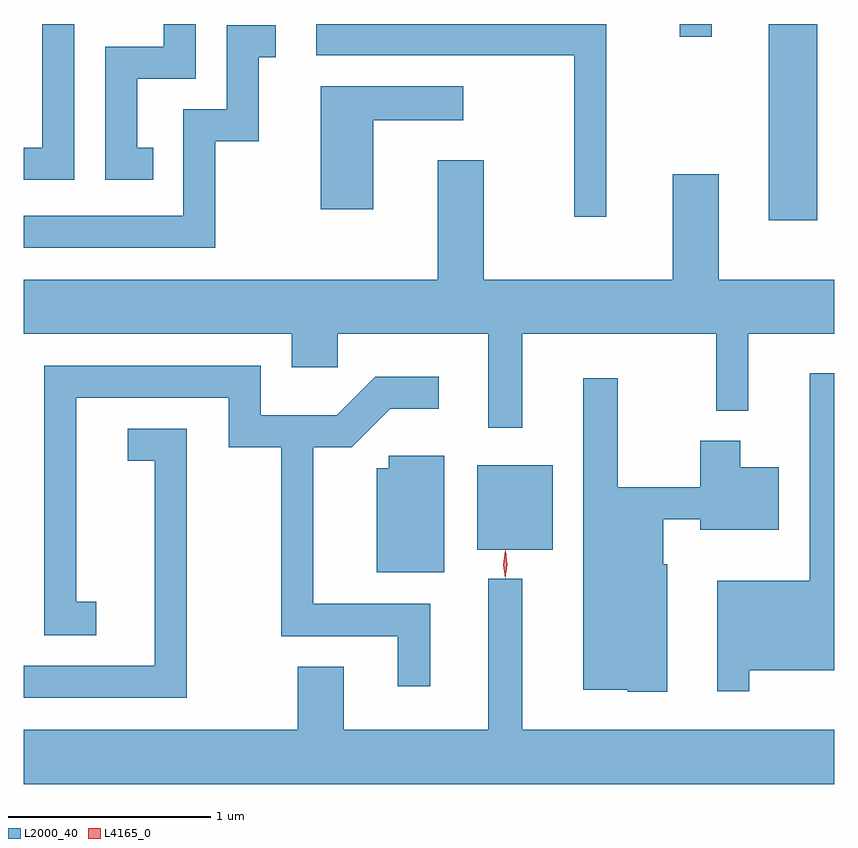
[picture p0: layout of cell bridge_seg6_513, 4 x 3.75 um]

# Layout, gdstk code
import gdstk
lib = gdstk.Library(unit=1e-6, precision=1e-09)
def R(c, l, rs):  # rectangles x0, y0, x1, y1
    for r in rs: c.add(gdstk.rectangle(r[:2], r[2:], *l))
def P(c, l, *ps):  # polygons
    for p in ps: c.add(gdstk.Polygon(p, *l))
L2000_40 = (2000, 40)
L4165_0 = (4165, 0)

bridge_seg6_513 = lib.new_cell('bridge_seg6_513')
R(bridge_seg6_513, L2000_40, [(542.376,1644.431,542.749,1644.849), (543.816,1646.056,544.054,1647.025), (543.376,1646.963,543.534,1647.025)])
P(bridge_seg6_513, L2000_40, [(543.014,1647.025),(541.583,1647.025),(541.583,1646.871),(542.856,1646.871),(542.856,1646.073),(543.014,1646.073)],
  [(540.778,1646.414),(540.699,1646.414),(540.699,1646.756),(540.989,1646.756),(540.989,1647.025),(540.831,1647.025),(540.831,1646.914),(540.541,1646.914),(540.541,1646.256),(540.778,1646.256)],
  [(540.389,1647.025),(540.231,1647.025),(540.231,1646.414),(540.139,1646.414),(540.139,1646.256),(540.389,1646.256)],
  [(541.084,1646.446),(541.299,1646.446),(541.299,1646.861),(541.383,1646.861),(541.383,1647.019),(541.141,1647.019),(541.141,1646.604),(540.926,1646.604),(540.926,1646.079),(540.139,1646.079),(540.139,1645.921),(541.084,1645.921)],
  [(541.864,1646.551),(542.308,1646.551),(542.308,1646.719),(541.606,1646.719),(541.606,1646.111),(541.864,1646.111)],
  [(542.599,1645.496),(543.556,1645.496),(543.556,1645.118),(543.714,1645.118),(543.714,1645.496),(544.139,1645.496),(544.139,1645.764),(543.569,1645.764),(543.569,1646.284),(543.341,1646.284),(543.341,1645.764),(542.409,1645.764),(542.409,1646.354),(542.181,1646.354),(542.181,1645.764),(540.139,1645.764),(540.139,1645.496),(541.461,1645.496),(541.461,1645.331),(541.689,1645.331),(541.689,1645.496),(542.431,1645.496),(542.431,1645.033),(542.599,1645.033)],
  [(542.144,1644.164),(541.569,1644.164),(541.569,1644.936),(541.757,1644.936),(541.947,1645.126),(542.188,1645.126),(542.188,1645.284),(541.874,1645.284),(541.684,1645.094),(541.309,1645.094),(541.309,1645.339),(540.241,1645.339),(540.241,1644.011),(540.498,1644.011),(540.498,1644.174),(540.399,1644.174),(540.399,1645.181),(541.151,1645.181),(541.151,1644.936),(541.411,1644.936),(541.411,1644.006),(541.986,1644.006),(541.986,1643.758),(542.144,1643.758)],
  [(543.719,1643.836),(544.139,1643.836),(544.139,1645.303),(544.016,1645.303),(544.016,1644.279),(543.561,1644.279),(543.561,1643.733),(543.719,1643.733)],
  [(543.314,1644.359),(543.294,1644.359),(543.294,1644.581),(543.476,1644.581),(543.476,1644.531),(543.864,1644.531),(543.864,1644.839),(543.674,1644.839),(543.674,1644.969),(543.476,1644.969),(543.476,1644.739),(543.069,1644.739),(543.069,1645.278),(542.901,1645.278),(542.901,1643.741),(543.12,1643.741),(543.12,1643.731),(543.314,1643.731)],
  [(540.944,1645.029),(540.653,1645.029),(540.653,1644.871),(540.786,1644.871),(540.786,1643.859),(540.139,1643.859),(540.139,1643.701),(540.944,1643.701)],
  [(542.214,1644.894),(541.941,1644.894),(541.941,1644.834),(541.881,1644.834),(541.881,1644.321),(542.214,1644.321)],
  [(544.139,1643.544),(542.599,1643.544),(542.599,1644.288),(542.431,1644.288),(542.431,1643.544),(541.719,1643.544),(541.719,1643.854),(541.491,1643.854),(541.491,1643.544),(540.139,1643.544),(540.139,1643.276),(544.139,1643.276)])
P(bridge_seg6_513, L4165_0, [(542.514,1644.293),(542.506,1644.358),(542.516,1644.421),(542.517,1644.422),(542.518,1644.421),(542.526,1644.357),(542.515,1644.293),(542.515,1644.293)],
  [(542.514,1644.29),(542.506,1644.358),(542.516,1644.426),(542.517,1644.426),(542.518,1644.426),(542.526,1644.358),(542.515,1644.29),(542.515,1644.29)])

lib.write_gds('bridge_seg6_513.gds')
